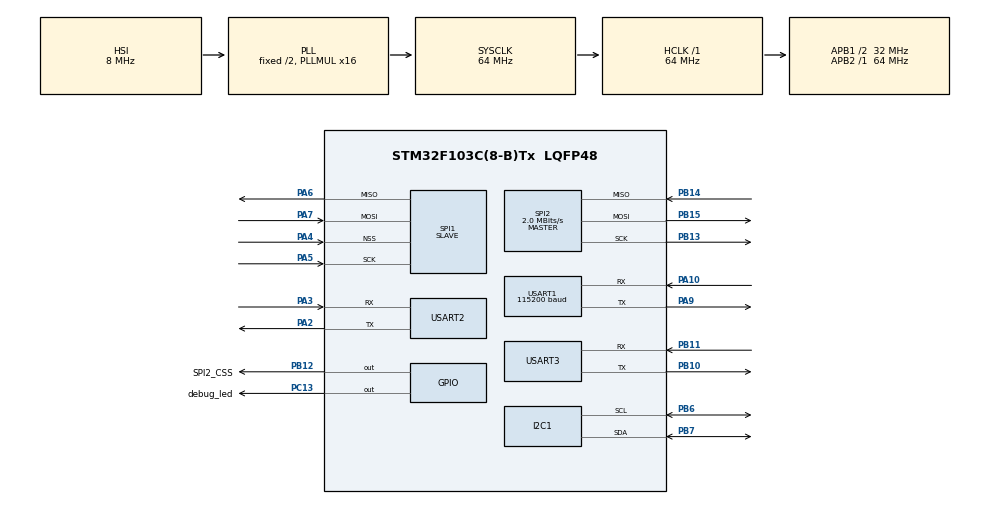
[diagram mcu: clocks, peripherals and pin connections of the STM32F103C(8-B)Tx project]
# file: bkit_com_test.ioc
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Dma.Request0=SPI1_TX
Dma.SPI1_TX.0.Direction=DMA_MEMORY_TO_PERIPH
Dma.SPI1_TX.0.Instance=DMA1_Channel3
Dma.SPI1_TX.0.MemDataAlignment=DMA_MDATAALIGN_BYTE
Dma.SPI1_TX.0.MemInc=DMA_MINC_ENABLE
Dma.SPI1_TX.0.Mode=DMA_NORMAL
Dma.SPI1_TX.0.PeriphDataAlignment=DMA_PDATAALIGN_BYTE
Dma.SPI1_TX.0.PeriphInc=DMA_PINC_DISABLE
Dma.SPI1_TX.0.Priority=DMA_PRIORITY_LOW
Mcu.Family=STM32F1
Mcu.Name=STM32F103C(8-B)Tx
Mcu.Package=LQFP48
NVIC.DMA1_Channel3_IRQn=true\:0\:0\:false\:false\:true\:false\:true\:true
NVIC.PriorityGroup=NVIC_PRIORITYGROUP_4
NVIC.SPI1_IRQn=true\:0\:0\:false\:false\:true\:true\:true\:true
NVIC.SPI2_IRQn=true\:0\:0\:false\:false\:true\:true\:true\:true
NVIC.TIM2_IRQn=true\:0\:0\:false\:false\:true\:true\:true\:true
NVIC.USART1_IRQn=true\:0\:0\:false\:false\:true\:true\:true\:true
PA10.Mode=Asynchronous
PA10.Signal=USART1_RX
PA2.Mode=Asynchronous
PA2.Signal=USART2_TX
PA3.Mode=Asynchronous
PA3.Signal=USART2_RX
PA4.Mode=NSS_Signal_Hard_Input
PA4.Signal=SPI1_NSS
PA5.Mode=Full_Duplex_Slave
PA5.Signal=SPI1_SCK
PA6.Mode=Full_Duplex_Slave
PA6.Signal=SPI1_MISO
PA7.Mode=Full_Duplex_Slave
PA7.Signal=SPI1_MOSI
PA9.Mode=Asynchronous
PA9.Signal=USART1_TX
PB10.Mode=Asynchronous
PB10.Signal=USART3_TX
PB11.Mode=Asynchronous
PB11.Signal=USART3_RX
PB12.GPIO_Label=SPI2_CSS
PB12.PinState=GPIO_PIN_SET
PB12.Signal=GPIO_Output
PB13.Mode=Full_Duplex_Master
PB13.Signal=SPI2_SCK
PB14.Mode=Full_Duplex_Master
PB14.Signal=SPI2_MISO
PB15.Mode=Full_Duplex_Master
PB15.Signal=SPI2_MOSI
PB6.Mode=I2C
PB6.Signal=I2C1_SCL
PB7.Mode=I2C
PB7.Signal=I2C1_SDA
PC13-TAMPER-RTC.GPIO_Label=debug_led
PC13-TAMPER-RTC.Signal=GPIO_Output
ProjectManager.HeapSize=0x200
ProjectManager.StackSize=0x400
ProjectManager.TargetToolchain=STM32CubeIDE
RCC.AHBFreq_Value=64000000
RCC.APB1CLKDivider=RCC_HCLK_DIV2
RCC.APB1Freq_Value=32000000
RCC.APB1TimFreq_Value=64000000
RCC.APB2Freq_Value=64000000
RCC.APB2TimFreq_Value=64000000
RCC.HCLKFreq_Value=64000000
RCC.PLLMUL=RCC_PLL_MUL16
RCC.SYSCLKFreq_VALUE=64000000
RCC.SYSCLKSource=RCC_SYSCLKSOURCE_PLLCLK
RCC.USBFreq_Value=64000000
SPI1.Direction=SPI_DIRECTION_2LINES
SPI1.Mode=SPI_MODE_SLAVE
SPI1.VirtualNSS=VM_NSSHARD
SPI1.VirtualType=VM_SLAVE
SPI2.BaudRatePrescaler=SPI_BAUDRATEPRESCALER_16
SPI2.CalculateBaudRate=2.0 MBits/s
SPI2.Direction=SPI_DIRECTION_2LINES
SPI2.Mode=SPI_MODE_MASTER
SPI2.VirtualType=VM_MASTER
TIM2.Period=9
TIM2.Prescaler=63999
USART1.BaudRate=115200
USART1.VirtualMode=VM_ASYNC
USART2.VirtualMode=VM_ASYNC
USART3.VirtualMode=VM_ASYNC
VP_SYS_VS_ND.Mode=No_Debug
VP_TIM2_VS_ClockSourceINT.Mode=Internal
board=custom

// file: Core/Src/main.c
/* USER CODE BEGIN Header */
/**
  ******************************************************************************
  * @file           : main.c
  * @brief          : Main program body
  ******************************************************************************
  * @attention
  *
  * Copyright (c) 2025 STMicroelectronics.
  * All rights reserved.
  *
  * This software is licensed under terms that can be found in the LICENSE file
  * in the root directory of this software component.
  * If no LICENSE file comes with this software, it is provided AS-IS.
  *
  ******************************************************************************
  */
/* USER CODE END Header */
#include "main.h"
#include "dma.h"
#include "i2c.h"
#include "spi.h"
#include "tim.h"
#include "usart.h"
#include "gpio.h"

/* USER CODE BEGIN Includes */
#include "timer.h"
#include "hardware.h"
/* USER CODE END Includes */

void SystemClock_Config(void);

/* USER CODE BEGIN 0 */
//void HAL_SPI_RxCpltCallback(SPI_HandleTypeDef * hspi)
//{
//    isDataCome = 1;
//}
/* USER CODE END 0 */

int main(void)
{

  /* MCU Configuration--------------------------------------------------------*/

  /* Reset of all peripherals, Initializes the Flash interface and the Systick. */
  HAL_Init();

  /* Configure the system clock */
  SystemClock_Config();

  /* Initialize all configured peripherals */
  MX_GPIO_Init();
  MX_DMA_Init();
  MX_SPI1_Init();
  MX_USART1_UART_Init();
  MX_SPI2_Init();
  MX_TIM2_Init();
  MX_I2C1_Init();
  MX_USART2_UART_Init();
  MX_USART3_UART_Init();
  /* USER CODE BEGIN 2 */
//  BKIT_COM_HW_Init(SPI, 1, 115200);
//  BKIT_COM_HW_Send();
//  HAL_UART_Transmit(&huart1, (uint8_t*)"HEHE", 4, HAL_MAX_DELAY);
//  	uint8_t buf[8];
//  uint8_t buf[10];
//  uint8_t buf[10];

  /* USER CODE END 2 */

  /* Infinite loop */
  /* USER CODE BEGIN WHILE */
//  	uint8_t buf[10];
//    BKIT_COM_HW_Init(SPI, MASTER);
//    BKIT_COM_StateTypedef t = BKIT_COM_HW_Receive(buf, 10000);
//    if(t==BKIT_COM_TIMEOUT){
//    	HAL_UART_Transmit(&huart1, (uint8_t*)"TIMEO", 5, 1000);
//    }
//    else if(t == BKIT_COM_ERROR){
//    	HAL_UART_Transmit(&huart1, (uint8_t*)"ERROR", 5, 1000);
//    }
  BKIT_COM_HW_Init(SPI, SLAVE);
  uint8_t rxbuf[10];
  uint8_t state = 0;
  while (1)
  {
	  switch(state){
	  case 0:{
		  if(BKIT_COM_HW_Receive(rxbuf, 10) == BKIT_COM_OK){
			  HAL_UART_Transmit(&huart1, rxbuf, 10, 1000);
			  state = 1;
		  }
		  break;
	  }
	  case 1:{
		  BKIT_COM_HW_Send(rxbuf, 10);
		  state = 0;
		  break;
	  }
	  }
    /* USER CODE END WHILE */

  }
}

void SystemClock_Config(void)
{
  RCC_OscInitTypeDef RCC_OscInitStruct = {0};
  RCC_ClkInitTypeDef RCC_ClkInitStruct = {0};

  /** Initializes the RCC Oscillators according to the specified parameters
  * in the RCC_OscInitTypeDef structure.
  */
  RCC_OscInitStruct.OscillatorType = RCC_OSCILLATORTYPE_HSI;
  RCC_OscInitStruct.HSIState = RCC_HSI_ON;
  RCC_OscInitStruct.HSICalibrationValue = RCC_HSICALIBRATION_DEFAULT;
  RCC_OscInitStruct.PLL.PLLState = RCC_PLL_ON;
  RCC_OscInitStruct.PLL.PLLSource = RCC_PLLSOURCE_HSI_DIV2;
  RCC_OscInitStruct.PLL.PLLMUL = RCC_PLL_MUL16;
  if (HAL_RCC_OscConfig(&RCC_OscInitStruct) != HAL_OK)
  {
    Error_Handler();
  }

  /** Initializes the CPU, AHB and APB buses clocks
  */
  RCC_ClkInitStruct.ClockType = RCC_CLOCKTYPE_HCLK|RCC_CLOCKTYPE_SYSCLK
                              |RCC_CLOCKTYPE_PCLK1|RCC_CLOCKTYPE_PCLK2;
  RCC_ClkInitStruct.SYSCLKSource = RCC_SYSCLKSOURCE_PLLCLK;
  RCC_ClkInitStruct.AHBCLKDivider = RCC_SYSCLK_DIV1;
  RCC_ClkInitStruct.APB1CLKDivider = RCC_HCLK_DIV2;
  RCC_ClkInitStruct.APB2CLKDivider = RCC_HCLK_DIV1;

  if (HAL_RCC_ClockConfig(&RCC_ClkInitStruct, FLASH_LATENCY_2) != HAL_OK)
  {
    Error_Handler();
  }
}

void Error_Handler(void)
{
  __disable_irq();
  while (1)
  {
  }
}
